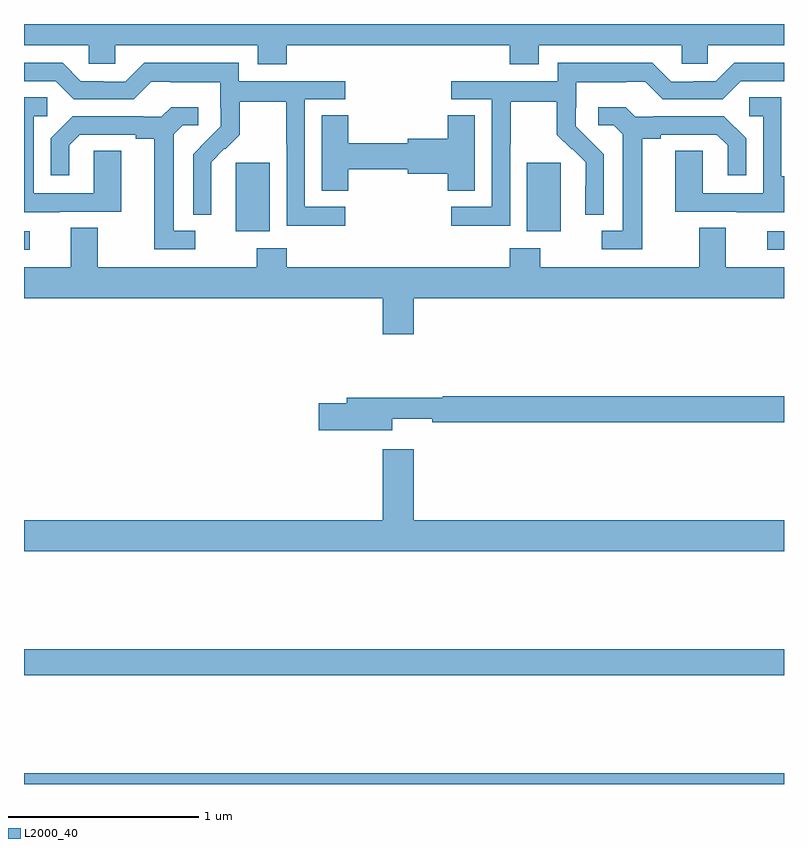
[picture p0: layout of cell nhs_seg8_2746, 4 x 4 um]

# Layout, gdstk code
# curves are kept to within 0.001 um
import gdstk
lib = gdstk.Library(unit=1e-6, precision=1e-09)
def R(c, l, rs):  # rectangles x0, y0, x1, y1
    for r in rs: c.add(gdstk.rectangle(r[:2], r[2:], *l))
def P(c, l, *ps):  # polygons
    for p in ps: c.add(gdstk.Polygon(p, *l))
L2000_40 = (2000, 40)

nhs_seg8_2746 = lib.new_cell('nhs_seg8_2746')
R(nhs_seg8_2746, L2000_40, [(283,1157.9,287,1157.956), (283,1158.472,287,1158.608), (283,1160.712,283.03,1160.808), (286.911,1160.712,287,1160.808), (284.114,1160.81,284.293,1161.171), (285.647,1160.81,285.826,1161.171)])
P(nhs_seg8_2746, L2000_40, [(284.384,1161.788),(285.557,1161.788),(285.557,1161.689),(285.709,1161.689),(285.709,1161.788),(286.461,1161.788),(286.461,1161.69),(286.599,1161.69),(286.599,1161.788),(287,1161.788),(287,1161.9),(283,1161.9),(283,1161.788),(283.341,1161.788),(283.341,1161.69),(283.479,1161.69),(283.479,1161.788),(284.231,1161.788),(284.231,1161.689),(284.384,1161.689)],
  [(284.692,1160.937),(284.478,1160.937),(284.478,1161.504),(284.692,1161.504),(284.692,1161.6),(284.13,1161.6),(284.13,1161.697),(283.633,1161.697),(283.533,1161.597),(283.418,1161.597),(283.418,1161.6),(283.299,1161.6),(283.203,1161.696),(283,1161.696),(283,1161.6),(283.167,1161.6),(283.263,1161.504),(283.578,1161.504),(283.671,1161.597),(283.771,1161.597),(283.771,1161.593),(284.034,1161.593),(284.034,1161.459),(284.036,1161.459),(284.036,1161.362),(283.89,1161.214),(283.89,1160.896),(283.986,1160.896),(283.985,1161.173),(284.055,1161.243),(284.058,1161.24),(284.135,1161.317),(284.135,1161.492),(284.38,1161.492),(284.38,1161.268),(284.382,1161.268),(284.382,1160.839),(284.692,1160.839)],
  [(285.558,1161.268),(285.561,1161.268),(285.561,1161.492),(285.805,1161.492),(285.805,1161.317),(285.882,1161.24),(285.885,1161.243),(285.956,1161.173),(285.956,1161.05),(285.954,1161.05),(285.954,1160.896),(286.05,1160.896),(286.05,1161.214),(285.904,1161.362),(285.904,1161.459),(285.906,1161.459),(285.906,1161.593),(286.169,1161.593),(286.169,1161.597),(286.269,1161.597),(286.362,1161.504),(286.677,1161.504),(286.773,1161.6),(287,1161.6),(287,1161.696),(286.737,1161.696),(286.641,1161.6),(286.523,1161.6),(286.523,1161.597),(286.407,1161.597),(286.307,1161.697),(285.81,1161.697),(285.81,1161.6),(285.249,1161.6),(285.249,1161.504),(285.462,1161.504),(285.462,1160.937),(285.249,1160.937),(285.249,1160.839),(285.558,1160.839)],
  [(283.189,1160.913),(283.513,1160.913),(283.513,1161.233),(283.368,1161.233),(283.368,1161.009),(283.05,1161.009),(283.05,1161.414),(283.123,1161.414),(283.123,1161.515),(283,1161.515),(283,1160.909),(283.189,1160.909)],
  [(287,1161.099),(286.986,1161.099),(286.986,1161.515),(286.818,1161.515),(286.818,1161.414),(286.89,1161.414),(286.89,1161.009),(286.572,1161.009),(286.572,1161.233),(286.427,1161.233),(286.427,1160.913),(286.751,1160.913),(286.751,1160.909),(287,1160.909)],
  [(286.255,1161.296),(286.351,1161.296),(286.351,1161.318),(286.646,1161.318),(286.703,1161.261),(286.703,1161.105),(286.8,1161.105),(286.8,1161.298),(286.684,1161.414),(286.312,1161.414),(286.312,1161.411),(286.218,1161.411),(286.166,1161.463),(286.023,1161.463),(286.023,1161.366),(286.104,1161.366),(286.151,1161.319),(286.151,1160.811),(286.041,1160.811),(286.041,1160.715),(286.255,1160.715)],
  [(283.9,1160.811),(283.789,1160.811),(283.789,1161.319),(283.836,1161.366),(283.918,1161.366),(283.918,1161.463),(283.774,1161.463),(283.722,1161.411),(283.628,1161.411),(283.628,1161.414),(283.256,1161.414),(283.14,1161.298),(283.14,1161.105),(283.237,1161.105),(283.237,1161.261),(283.294,1161.318),(283.589,1161.318),(283.589,1161.296),(283.685,1161.296),(283.685,1160.715),(283.9,1160.715)],
  [(284.706,1161.136),(285.02,1161.136),(285.02,1161.113),(285.23,1161.113),(285.23,1161.022),(285.373,1161.022),(285.373,1161.419),(285.23,1161.419),(285.23,1161.296),(285.02,1161.296),(285.02,1161.272),(284.706,1161.272),(284.706,1161.419),(284.567,1161.419),(284.567,1161.022),(284.706,1161.022)],
  [(285.052,1160.456),(287,1160.456),(287,1160.62),(286.693,1160.62),(286.693,1160.828),(286.553,1160.828),(286.553,1160.62),(285.717,1160.62),(285.717,1160.719),(285.557,1160.719),(285.557,1160.62),(284.384,1160.62),(284.384,1160.719),(284.224,1160.719),(284.224,1160.62),(283.387,1160.62),(283.387,1160.828),(283.247,1160.828),(283.247,1160.62),(283,1160.62),(283,1160.456),(284.888,1160.456),(284.888,1160.268),(285.052,1160.268)],
  [(284.938,1159.823),(285.148,1159.823),(285.148,1159.804),(287,1159.804),(287,1159.94),(285.203,1159.94),(285.203,1159.933),(284.699,1159.933),(284.699,1159.904),(284.55,1159.904),(284.55,1159.762),(284.938,1159.762)],
  [(287,1159.288),(285.052,1159.288),(285.052,1159.663),(284.888,1159.663),(284.888,1159.288),(283,1159.288),(283,1159.124),(287,1159.124)])

lib.write_gds('nhs_seg8_2746.gds')
